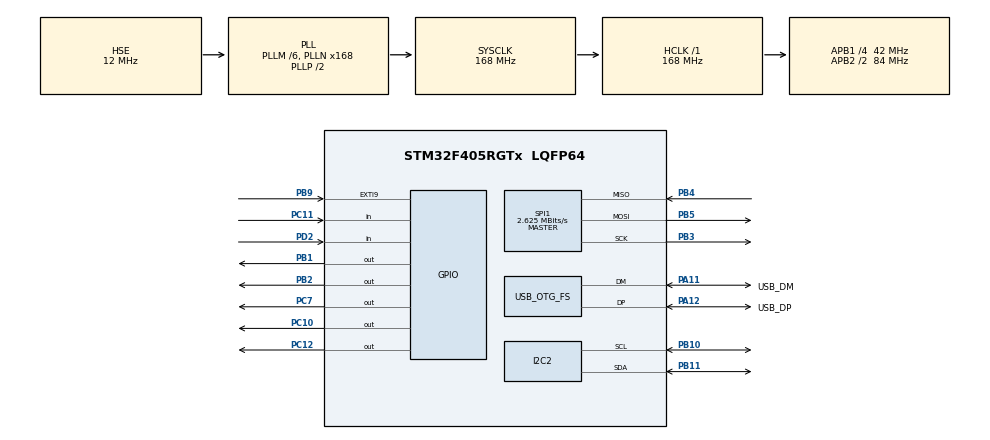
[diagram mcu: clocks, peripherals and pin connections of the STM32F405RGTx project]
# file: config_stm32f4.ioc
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FREERTOS.Tasks01=defaultTask,0,128,StartDefaultTask,Default,NULL
Mcu.Family=STM32F4
Mcu.Name=STM32F405RGTx
Mcu.Package=LQFP64
NVIC.EXTI9_5_IRQn=true\:5\:0\:true\:false\:true\:true\:true\:true
NVIC.OTG_FS_IRQn=true\:5\:0\:false\:false\:true\:true\:true\:true
NVIC.PriorityGroup=NVIC_PRIORITYGROUP_4
NVIC.TimeBase=TIM2_IRQn
NVIC.TimeBaseIP=TIM2
PA10.Signal=USB_OTG_FS_ID
PA11.GPIO_Label=USB_DM
PA11.GPIO_Mode=GPIO_MODE_AF_PP
PA11.GPIO_PuPd=GPIO_NOPULL
PA11.GPIO_Speed=GPIO_SPEED_FREQ_VERY_HIGH
PA11.Mode=Device_Only
PA11.Signal=USB_OTG_FS_DM
PA12.GPIO_Label=USB_DP
PA12.GPIO_Mode=GPIO_MODE_AF_PP
PA12.GPIO_PuPd=GPIO_NOPULL
PA12.GPIO_Speed=GPIO_SPEED_FREQ_VERY_HIGH
PA12.Mode=Device_Only
PA12.Signal=USB_OTG_FS_DP
PA13.Mode=Serial_Wire
PA13.Signal=SYS_JTMS-SWDIO
PA14.Mode=Serial_Wire
PA14.Signal=SYS_JTCK-SWCLK
PA15.Signal=SPI1_NSS
PB1.GPIO_ModeDefaultOutputPP=GPIO_MODE_OUTPUT_PP
PB1.GPIO_PuPd=GPIO_NOPULL
PB1.GPIO_Speed=GPIO_SPEED_FREQ_LOW
PB1.PinState=GPIO_PIN_RESET
PB1.Signal=GPIO_Output
PB10.GPIO_Mode=GPIO_MODE_AF_OD
PB10.GPIO_PuPdOD=GPIO_PULLUP
PB10.GPIO_Speed=GPIO_SPEED_FREQ_VERY_HIGH
PB10.Mode=I2C
PB10.Signal=I2C2_SCL
PB11.GPIO_Mode=GPIO_MODE_AF_OD
PB11.GPIO_PuPdOD=GPIO_PULLUP
PB11.GPIO_Speed=GPIO_SPEED_FREQ_VERY_HIGH
PB11.Mode=I2C
PB11.Signal=I2C2_SDA
PB2.GPIO_ModeDefaultOutputPP=GPIO_MODE_OUTPUT_PP
PB2.GPIO_PuPd=GPIO_NOPULL
PB2.GPIO_Speed=GPIO_SPEED_FREQ_LOW
PB2.PinState=GPIO_PIN_RESET
PB2.Signal=GPIO_Output
PB3.GPIO_Mode=GPIO_MODE_AF_PP
PB3.GPIO_PuPd=GPIO_NOPULL
PB3.GPIO_Speed=GPIO_SPEED_FREQ_VERY_HIGH
PB3.Mode=Full_Duplex_Master
PB3.Signal=SPI1_SCK
PB4.GPIO_Mode=GPIO_MODE_AF_PP
PB4.GPIO_PuPd=GPIO_NOPULL
PB4.GPIO_Speed=GPIO_SPEED_FREQ_VERY_HIGH
PB4.Mode=Full_Duplex_Master
PB4.Signal=SPI1_MISO
PB5.GPIO_Mode=GPIO_MODE_AF_PP
PB5.GPIO_PuPd=GPIO_NOPULL
PB5.GPIO_Speed=GPIO_SPEED_FREQ_VERY_HIGH
PB5.Mode=Full_Duplex_Master
PB5.Signal=SPI1_MOSI
PB9.Signal=GPXTI9
PC10.GPIO_ModeDefaultOutputPP=GPIO_MODE_OUTPUT_PP
PC10.GPIO_PuPd=GPIO_NOPULL
PC10.GPIO_Speed=GPIO_SPEED_FREQ_LOW
PC10.PinState=GPIO_PIN_RESET
PC10.Signal=GPIO_Output
PC11.GPIO_Mode=GPIO_MODE_INPUT
PC11.GPIO_PuPd=GPIO_NOPULL
PC11.Signal=GPIO_Input
PC12.GPIO_ModeDefaultOutputPP=GPIO_MODE_OUTPUT_PP
PC12.GPIO_PuPd=GPIO_NOPULL
PC12.GPIO_Speed=GPIO_SPEED_FREQ_LOW
PC12.PinState=GPIO_PIN_RESET
PC12.Signal=GPIO_Output
PC14-OSC32_IN.Mode=LSE-External-Oscillator
PC14-OSC32_IN.Signal=RCC_OSC32_IN
PC15-OSC32_OUT.Mode=LSE-External-Oscillator
PC15-OSC32_OUT.Signal=RCC_OSC32_OUT
PC7.GPIO_ModeDefaultOutputPP=GPIO_MODE_OUTPUT_PP
PC7.GPIO_PuPd=GPIO_NOPULL
PC7.GPIO_Speed=GPIO_SPEED_FREQ_LOW
PC7.PinState=GPIO_PIN_RESET
PC7.Signal=GPIO_Output
PD2.GPIO_Mode=GPIO_MODE_INPUT
PD2.GPIO_PuPd=GPIO_NOPULL
PD2.Signal=GPIO_Input
PH0-OSC_IN.Mode=HSE-External-Oscillator
PH0-OSC_IN.Signal=RCC_OSC_IN
PH1-OSC_OUT.Mode=HSE-External-Oscillator
PH1-OSC_OUT.Signal=RCC_OSC_OUT
ProjectManager.HeapSize=0x200
ProjectManager.StackSize=0x400
ProjectManager.TargetToolchain=Makefile
RCC.48MHZClocksFreq_Value=48000000
RCC.AHBFreq_Value=168000000
RCC.APB1CLKDivider=RCC_HCLK_DIV4
RCC.APB1Freq_Value=42000000
RCC.APB1TimFreq_Value=84000000
RCC.APB2CLKDivider=RCC_HCLK_DIV2
RCC.APB2Freq_Value=84000000
RCC.APB2TimFreq_Value=168000000
RCC.CortexFreq_Value=168000000
RCC.HCLKFreq_Value=168000000
RCC.HSE_VALUE=12000000
RCC.HSI_VALUE=16000000
RCC.PLLM=6
RCC.PLLN=168
RCC.PLLQ=7
RCC.SYSCLKFreq_VALUE=168000000
RCC.SYSCLKSource=RCC_SYSCLKSOURCE_PLLCLK
RCC.VCOOutputFreq_Value=336000000
SPI1.BaudRatePrescaler=SPI_BAUDRATEPRESCALER_32
SPI1.CalculateBaudRate=2.625 MBits/s
SPI1.Direction=SPI_DIRECTION_2LINES
SPI1.Mode=SPI_MODE_MASTER
SPI1.VirtualType=VM_MASTER
USB_DEVICE.CLASS_NAME_FS=CDC
USB_DEVICE.VirtualMode-CDC_FS=Cdc
USB_DEVICE.VirtualModeFS=Cdc_FS
USB_OTG_FS.VirtualMode=Device_Only
VP_FREERTOS_VS_CMSIS_V1.Mode=CMSIS_V1
VP_SYS_VS_tim2.Mode=TIM2
VP_USB_DEVICE_VS_USB_DEVICE_CDC_FS.Mode=CDC_FS
board=config_stm32f4

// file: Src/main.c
/* USER CODE BEGIN Header */
/**
  ******************************************************************************
  * @file           : main.c
  * @brief          : Main program body
  ******************************************************************************
  * @attention
  *
  * <h2><center>&copy; Copyright (c) 2021 STMicroelectronics.
  * All rights reserved.</center></h2>
  *
  * This software component is licensed by ST under Ultimate Liberty license
  * SLA0044, the "License"; You may not use this file except in compliance with
  * the License. You may obtain a copy of the License at:
  *                             www.st.com/SLA0044
  *
  ******************************************************************************
  */
/* USER CODE END Header */
#include "main.h"
#include "cmsis_os.h"
#include "i2c.h"
#include "spi.h"
#include "usb_device.h"
#include "gpio.h"

/* USER CODE BEGIN Includes */
#include "common.h"
/* USER CODE END Includes */

void SystemClock_Config(void);
void MX_FREERTOS_Init(void);

int main(void)
{

  /* MCU Configuration--------------------------------------------------------*/

  /* Reset of all peripherals, Initializes the Flash interface and the Systick. */
  HAL_Init();

  /* USER CODE BEGIN Init */
  DWT_Delay_Init();
  /* USER CODE END Init */

  /* Configure the system clock */
  SystemClock_Config();

  /* Initialize all configured peripherals */
  MX_GPIO_Init();
  MX_I2C2_Init();
  MX_SPI1_Init();
  /* USER CODE BEGIN 2 */
  MX_USB_DEVICE_Init();
  /* USER CODE END 2 */

  /* Call init function for freertos objects (in freertos.c) */
  MX_FREERTOS_Init();
  /* Start scheduler */
  osKernelStart();

  /* We should never get here as control is now taken by the scheduler */
  /* Infinite loop */
  while (1)
  {

  }
}

void SystemClock_Config(void)
{
  RCC_OscInitTypeDef RCC_OscInitStruct = {0};
  RCC_ClkInitTypeDef RCC_ClkInitStruct = {0};

  /** Configure the main internal regulator output voltage
  */
  __HAL_RCC_PWR_CLK_ENABLE();
  __HAL_PWR_VOLTAGESCALING_CONFIG(PWR_REGULATOR_VOLTAGE_SCALE1);
  /** Initializes the RCC Oscillators according to the specified parameters
  * in the RCC_OscInitTypeDef structure.
  */
  RCC_OscInitStruct.OscillatorType = RCC_OSCILLATORTYPE_HSE;
  RCC_OscInitStruct.HSEState = RCC_HSE_ON;
  RCC_OscInitStruct.PLL.PLLState = RCC_PLL_ON;
  RCC_OscInitStruct.PLL.PLLSource = RCC_PLLSOURCE_HSE;
  RCC_OscInitStruct.PLL.PLLM = 6;
  RCC_OscInitStruct.PLL.PLLN = 168;
  RCC_OscInitStruct.PLL.PLLP = RCC_PLLP_DIV2;
  RCC_OscInitStruct.PLL.PLLQ = 7;
  if (HAL_RCC_OscConfig(&RCC_OscInitStruct) != HAL_OK)
  {
    Error_Handler();
  }
  /** Initializes the CPU, AHB and APB buses clocks
  */
  RCC_ClkInitStruct.ClockType = RCC_CLOCKTYPE_HCLK|RCC_CLOCKTYPE_SYSCLK
                              |RCC_CLOCKTYPE_PCLK1|RCC_CLOCKTYPE_PCLK2;
  RCC_ClkInitStruct.SYSCLKSource = RCC_SYSCLKSOURCE_PLLCLK;
  RCC_ClkInitStruct.AHBCLKDivider = RCC_SYSCLK_DIV1;
  RCC_ClkInitStruct.APB1CLKDivider = RCC_HCLK_DIV4;
  RCC_ClkInitStruct.APB2CLKDivider = RCC_HCLK_DIV2;

  if (HAL_RCC_ClockConfig(&RCC_ClkInitStruct, FLASH_LATENCY_5) != HAL_OK)
  {
    Error_Handler();
  }
}

 /**
  * @brief  Period elapsed callback in non blocking mode
  * @note   This function is called  when TIM2 interrupt took place, inside
  * HAL_TIM_IRQHandler(). It makes a direct call to HAL_IncTick() to increment
  * a global variable "uwTick" used as application time base.
  * @param  htim : TIM handle
  * @retval None
  */
void HAL_TIM_PeriodElapsedCallback(TIM_HandleTypeDef *htim)
{
  if (htim->Instance == TIM2) {
    HAL_IncTick();
  }
}

void Error_Handler(void)
{
  __disable_irq();
  while (1)
  {
  }
}

/************************ (C) COPYRIGHT STMicroelectronics *****END OF FILE****/

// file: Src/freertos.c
/* USER CODE BEGIN Header */
/**
  ******************************************************************************
  * File Name          : freertos.c
  * Description        : Code for freertos applications
  ******************************************************************************
  * @attention
  *
  * <h2><center>&copy; Copyright (c) 2021 STMicroelectronics.
  * All rights reserved.</center></h2>
  *
  * This software component is licensed by ST under Ultimate Liberty license
  * SLA0044, the "License"; You may not use this file except in compliance with
  * the License. You may obtain a copy of the License at:
  *                             www.st.com/SLA0044
  *
  ******************************************************************************
  */
/* USER CODE END Header */

#include "FreeRTOS.h"
#include "task.h"
#include "main.h"
#include "cmsis_os.h"

/* USER CODE BEGIN Includes */
#include "usb.h"
#include "MPU9250.h"
#include "ranging.h"
#include "spi.h"

/* USER CODE END Includes */

/* USER CODE BEGIN Variables */
uint8_t CdcReceiveBuffer[64];
/* USER CODE END Variables */

osThreadId defaultTaskHandle;
osThreadId blinkTaskHandle;
osThreadId usbTransmitTaskHandle;
osThreadId usbReceiveTaskHandle;
osThreadId imuTaskHandle;
osThreadId uwbTaskHandle;
osThreadId listeningTaskHandle;
osThreadId uwbTestingTaskHandle;

void StartDefaultTask(void const * argument);
void StartBlinking(void const * argument);
void StartUsbTransmit(void const * argument);
void StartUsbReceive(void const * argument);
void StartImuTask(void const * argument);
void StartUwbTask(void const * argument);
void StartListeningTask(void const * argument);
void StartUwbTesting(void const * argument);

extern void MX_USB_DEVICE_Init(void);
void MX_FREERTOS_Init(void); /* (MISRA C 2004 rule 8.1) */

/* GetIdleTaskMemory prototype (linked to static allocation support) */
void vApplicationGetIdleTaskMemory( StaticTask_t **ppxIdleTaskTCBBuffer, StackType_t **ppxIdleTaskStackBuffer, uint32_t *pulIdleTaskStackSize );

/* USER CODE BEGIN GET_IDLE_TASK_MEMORY */
static StaticTask_t xIdleTaskTCBBuffer;
static StackType_t xIdleStack[configMINIMAL_STACK_SIZE];

void vApplicationGetIdleTaskMemory( StaticTask_t **ppxIdleTaskTCBBuffer, StackType_t **ppxIdleTaskStackBuffer, uint32_t *pulIdleTaskStackSize )
{
  *ppxIdleTaskTCBBuffer = &xIdleTaskTCBBuffer;
  *ppxIdleTaskStackBuffer = &xIdleStack[0];
  *pulIdleTaskStackSize = configMINIMAL_STACK_SIZE;
  /* place for user code */
}
/* USER CODE END GET_IDLE_TASK_MEMORY */

void MX_FREERTOS_Init(void) {

  /* Create the thread(s) */
  /* definition and creation of defaultTask */
  // osThreadDef(defaultTask, StartDefaultTask, osPriorityIdle, 0, 128);
  // defaultTaskHandle = osThreadCreate(osThread(defaultTask), NULL);

  /* USER CODE BEGIN RTOS_THREADS */
  osThreadDef(blink, StartBlinking, osPriorityIdle, 0, 128);
  blinkTaskHandle = osThreadCreate(osThread(blink), NULL);

  // osThreadDef(usbTransmit, StartUsbTransmit, osPriorityIdle, 0, 128);
  // usbTransmitTaskHandle = osThreadCreate(osThread(usbTransmit), NULL);

  // osThreadDef(usbReceive, StartUsbReceive, osPriorityRealtime, 0, 128);
  // usbReceiveTaskHandle = osThreadCreate(osThread(usbReceive), NULL);

  // osThreadDef(imu, StartImuTask, osPriorityRealtime, 0, 128);
  // imuTaskHandle = osThreadCreate(osThread(imu), NULL);

  // osThreadDef(uwb, StartUwbTask, osPriorityRealtime, 0, 128);
  // uwbTaskHandle = osThreadCreate(osThread(uwb), NULL);

  osThreadDef(listening, StartListeningTask, osPriorityRealtime, 0, 128);
  listeningTaskHandle = osThreadCreate(osThread(listening), NULL);

  // osThreadDef(uwbTesting, StartUwbTesting, osPriorityRealtime, 0, 128);
  // uwbTestingTaskHandle = osThreadCreate(osThread(uwbTesting), NULL);
  /* USER CODE END RTOS_THREADS */
}

void StartDefaultTask(void const * argument)
{
  for(;;)
  {
    osDelay(1);
  }
}

/* USER CODE BEGIN Application */
void StartBlinking(void const *argument){
  while (1){
    HAL_GPIO_TogglePin(GPIOC, GPIO_PIN_7);
    osDelay(1000);
  }
}

void StartUsbTransmit(void const *argument){
  // To read the transmitted data on a computer, execute in a terminal
  // >> cat /dev/ttyACMx
  while (1){
    usb_print("Hello World from USB CDC \n");
    osDelay(1000);
  }
}

void StartUsbReceive(void const *argument){
  // To receive the data transmitted by a computer, execute in a terminal
  // >> cat /dev/ttyACMx
  while (1){
    usb_print(CdcReceiveBuffer);
    osDelay(1000);
  }
}

void StartImuTask(void const *argument){
  while (1){
    imu_main();
  }
}

void StartUwbTask(void const *argument){
  // uwb_init();
  // while (1){
  //   do_owr();
  //   osDelay(100);
  // }
  do_twr();
}

void StartListeningTask(void const *argument){
  // uwb_init();
  // while (1){
  //   listen();
  // }
  listen_twr();
}

void StartUwbTesting(void const *argument){
  uwb_init();
  while (1){
    dw_test();
  }
}
/* USER CODE END Application */

/************************ (C) COPYRIGHT STMicroelectronics *****END OF FILE****/
